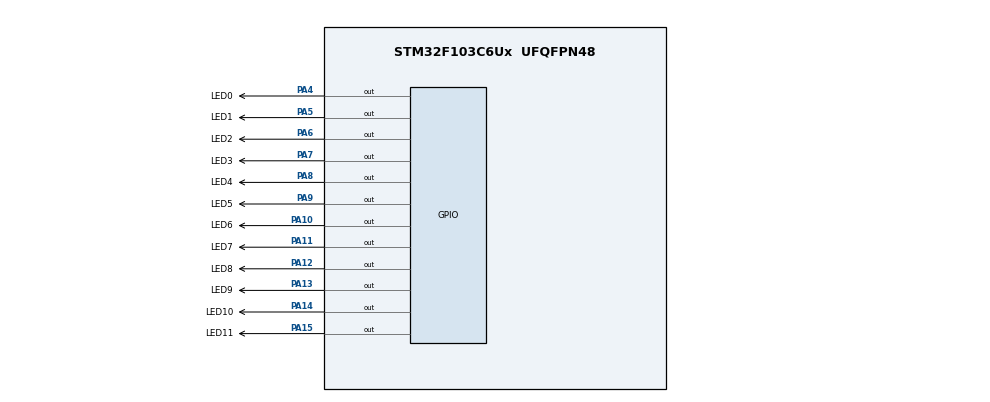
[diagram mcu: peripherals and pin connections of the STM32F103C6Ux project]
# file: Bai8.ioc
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Mcu.Family=STM32F1
Mcu.Name=STM32F103C6Ux
Mcu.Package=UFQFPN48
NVIC.PriorityGroup=NVIC_PRIORITYGROUP_4
PA10.GPIO_Label=LED6
PA10.Signal=GPIO_Output
PA11.GPIO_Label=LED7
PA11.Signal=GPIO_Output
PA12.GPIO_Label=LED8
PA12.Signal=GPIO_Output
PA13.GPIO_Label=LED9
PA13.Signal=GPIO_Output
PA14.GPIO_Label=LED10
PA14.Signal=GPIO_Output
PA15.GPIO_Label=LED11
PA15.Signal=GPIO_Output
PA4.GPIO_Label=LED0
PA4.Signal=GPIO_Output
PA5.GPIO_Label=LED1
PA5.Signal=GPIO_Output
PA6.GPIO_Label=LED2
PA6.Signal=GPIO_Output
PA7.GPIO_Label=LED3
PA7.Signal=GPIO_Output
PA8.GPIO_Label=LED4
PA8.Signal=GPIO_Output
PA9.GPIO_Label=LED5
PA9.Signal=GPIO_Output
ProjectManager.HeapSize=0x200
ProjectManager.StackSize=0x400
ProjectManager.TargetToolchain=STM32CubeIDE
RCC.APB1Freq_Value=8000000
RCC.APB2Freq_Value=8000000
VP_SYS_VS_ND.Mode=No_Debug
board=custom

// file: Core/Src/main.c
/* USER CODE BEGIN Header */
/**
 ******************************************************************************
 * @file           : main.c
 * @brief          : Main program body
 ******************************************************************************
 * @attention
 *
 * <h2><center>&copy; Copyright (c) 2022 STMicroelectronics.
 * All rights reserved.</center></h2>
 *
 * This software component is licensed by ST under BSD 3-Clause license,
 * the "License"; You may not use this file except in compliance with the
 * License. You may obtain a copy of the License at:
 *                        opensource.org/licenses/BSD-3-Clause
 *
 ******************************************************************************
 */
/* USER CODE END Header */
#include "main.h"

void SystemClock_Config(void);
static void MX_GPIO_Init(void);

/* USER CODE BEGIN 0 */
void setNumberOnClock(int num) {
	if (num == 0) {
		HAL_GPIO_WritePin(LED0_GPIO_Port, LED0_Pin, SET);
	}
	if (num == 1) {
		HAL_GPIO_WritePin(LED1_GPIO_Port, LED1_Pin, SET);
	}
	if (num == 2) {
		HAL_GPIO_WritePin(LED2_GPIO_Port, LED2_Pin, SET);
	}
	if (num == 3) {
		HAL_GPIO_WritePin(LED3_GPIO_Port, LED3_Pin, SET);
	}
	if (num == 4) {
		HAL_GPIO_WritePin(LED4_GPIO_Port, LED4_Pin, SET);
	}
	if (num == 5) {
		HAL_GPIO_WritePin(LED5_GPIO_Port, LED5_Pin, SET);
	}
	if (num == 6) {
		HAL_GPIO_WritePin(LED6_GPIO_Port, LED6_Pin, SET);
	}
	if (num == 7) {
		HAL_GPIO_WritePin(LED7_GPIO_Port, LED7_Pin, SET);
	}
	if (num == 8) {
		HAL_GPIO_WritePin(LED8_GPIO_Port, LED8_Pin, SET);
	}
	if (num == 9) {
		HAL_GPIO_WritePin(LED9_GPIO_Port, LED9_Pin, SET);
	}
	if (num == 10) {
		HAL_GPIO_WritePin(LED10_GPIO_Port, LED10_Pin, SET);
	}
	if (num == 11) {
		HAL_GPIO_WritePin(LED11_GPIO_Port, LED11_Pin, SET);
	}
}
/* USER CODE END 0 */

int main(void) {

	/* MCU Configuration--------------------------------------------------------*/

	/* Reset of all peripherals, Initializes the Flash interface and the Systick. */
	HAL_Init();

	/* Configure the system clock */
	SystemClock_Config();

	/* Initialize all configured peripherals */
	MX_GPIO_Init();

	/* Infinite loop */
	/* USER CODE BEGIN WHILE */
	int count = 0;
	while (1) {
		if (count == -2) {
			HAL_GPIO_WritePin(LED0_GPIO_Port, LED0_Pin, RESET);
			HAL_GPIO_WritePin(LED1_GPIO_Port, LED1_Pin, RESET);
			HAL_GPIO_WritePin(LED2_GPIO_Port, LED2_Pin, RESET);
			HAL_GPIO_WritePin(LED3_GPIO_Port, LED3_Pin, RESET);
			HAL_GPIO_WritePin(LED4_GPIO_Port, LED4_Pin, RESET);
			HAL_GPIO_WritePin(LED5_GPIO_Port, LED5_Pin, RESET);
			HAL_GPIO_WritePin(LED6_GPIO_Port, LED6_Pin, RESET);
			HAL_GPIO_WritePin(LED7_GPIO_Port, LED7_Pin, RESET);
			HAL_GPIO_WritePin(LED8_GPIO_Port, LED8_Pin, RESET);
			HAL_GPIO_WritePin(LED9_GPIO_Port, LED9_Pin, RESET);
			HAL_GPIO_WritePin(LED10_GPIO_Port, LED10_Pin, RESET);
			HAL_GPIO_WritePin(LED11_GPIO_Port, LED11_Pin, RESET);
		}
		if (count == 0) {
			setNumberOnClock(0);
		}
		if (count == 1) {
			setNumberOnClock(1);
		}
		if (count == 2) {
			setNumberOnClock(2);
		}
		if (count == 3) {
			setNumberOnClock(3);
		}
		if (count == 4) {
			setNumberOnClock(4);
		}
		if (count == 5) {
			setNumberOnClock(5);
		}
		if (count == 6) {
			setNumberOnClock(6);
		}
		if (count == 7) {
			setNumberOnClock(7);
		}
		if (count == 8) {
			setNumberOnClock(8);
		}
		if (count == 9) {
			setNumberOnClock(9);
		}
		if (count == 10) {
			setNumberOnClock(10);
			count = -1;
		}
		if (count == 11) {
			setNumberOnClock(11);
			count = -4;
		}
		count = count + 2;
		HAL_Delay(1000);
		/* USER CODE END WHILE */

	}
}

void SystemClock_Config(void) {
	RCC_OscInitTypeDef RCC_OscInitStruct = { 0 };
	RCC_ClkInitTypeDef RCC_ClkInitStruct = { 0 };

	/** Initializes the RCC Oscillators according to the specified parameters
	 * in the RCC_OscInitTypeDef structure.
	 */
	RCC_OscInitStruct.OscillatorType = RCC_OSCILLATORTYPE_HSI;
	RCC_OscInitStruct.HSIState = RCC_HSI_ON;
	RCC_OscInitStruct.HSICalibrationValue = RCC_HSICALIBRATION_DEFAULT;
	RCC_OscInitStruct.PLL.PLLState = RCC_PLL_NONE;
	if (HAL_RCC_OscConfig(&RCC_OscInitStruct) != HAL_OK) {
		Error_Handler();
	}
	/** Initializes the CPU, AHB and APB buses clocks
	 */
	RCC_ClkInitStruct.ClockType = RCC_CLOCKTYPE_HCLK | RCC_CLOCKTYPE_SYSCLK
			| RCC_CLOCKTYPE_PCLK1 | RCC_CLOCKTYPE_PCLK2;
	RCC_ClkInitStruct.SYSCLKSource = RCC_SYSCLKSOURCE_HSI;
	RCC_ClkInitStruct.AHBCLKDivider = RCC_SYSCLK_DIV1;
	RCC_ClkInitStruct.APB1CLKDivider = RCC_HCLK_DIV1;
	RCC_ClkInitStruct.APB2CLKDivider = RCC_HCLK_DIV1;

	if (HAL_RCC_ClockConfig(&RCC_ClkInitStruct, FLASH_LATENCY_0) != HAL_OK) {
		Error_Handler();
	}
}

static void MX_GPIO_Init(void) {
	GPIO_InitTypeDef GPIO_InitStruct = { 0 };

	/* GPIO Ports Clock Enable */
	__HAL_RCC_GPIOA_CLK_ENABLE();

	/*Configure GPIO pin Output Level */
	HAL_GPIO_WritePin(GPIOA,
			LED0_Pin | LED1_Pin | LED2_Pin | LED3_Pin | LED4_Pin | LED5_Pin
					| LED6_Pin | LED7_Pin | LED8_Pin | LED9_Pin | LED10_Pin
					| LED11_Pin, GPIO_PIN_RESET);

	/*Configure GPIO pins : LED0_Pin LED1_Pin LED2_Pin LED3_Pin
	 LED4_Pin LED5_Pin LED6_Pin LED7_Pin
	 LED8_Pin LED9_Pin LED10_Pin LED11_Pin */
	GPIO_InitStruct.Pin = LED0_Pin | LED1_Pin | LED2_Pin | LED3_Pin | LED4_Pin
			| LED5_Pin | LED6_Pin | LED7_Pin | LED8_Pin | LED9_Pin | LED10_Pin
			| LED11_Pin;
	GPIO_InitStruct.Mode = GPIO_MODE_OUTPUT_PP;
	GPIO_InitStruct.Pull = GPIO_NOPULL;
	GPIO_InitStruct.Speed = GPIO_SPEED_FREQ_LOW;
	HAL_GPIO_Init(GPIOA, &GPIO_InitStruct);

}

void Error_Handler(void) {
	__disable_irq();
	while (1) {
	}
}

/************************ (C) COPYRIGHT STMicroelectronics *****END OF FILE****/
